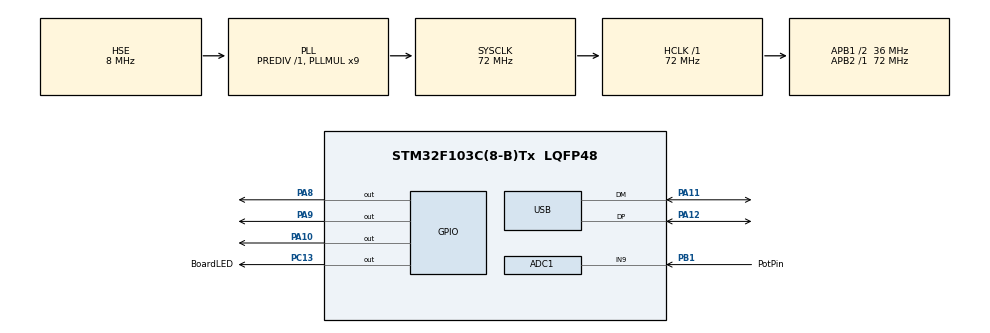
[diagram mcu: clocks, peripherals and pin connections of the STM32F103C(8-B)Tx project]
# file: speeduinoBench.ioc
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ADC1.Channel-0\#ChannelRegularConversion=ADC_CHANNEL_9
ADC1.ContinuousConvMode=ENABLE
ADC1.NbrOfConversionFlag=1
ADC1.Rank-0\#ChannelRegularConversion=1
ADC1.SamplingTime-0\#ChannelRegularConversion=ADC_SAMPLETIME_1CYCLE_5
ADC1.master=1
Mcu.Family=STM32F1
Mcu.Name=STM32F103C(8-B)Tx
Mcu.Package=LQFP48
NVIC.PriorityGroup=NVIC_PRIORITYGROUP_4
NVIC.USB_LP_CAN1_RX0_IRQn=true\:0\:0\:false\:false\:true\:false\:true\:true
PA10.Signal=GPIO_Output
PA11.Mode=Device
PA11.Signal=USB_DM
PA12.Mode=Device
PA12.Signal=USB_DP
PA13.Mode=Trace_Asynchronous_SW
PA13.Signal=SYS_JTMS-SWDIO
PA14.Mode=Trace_Asynchronous_SW
PA14.Signal=SYS_JTCK-SWCLK
PA8.Signal=GPIO_Output
PA9.Signal=GPIO_Output
PB1.GPIO_Label=PotPin
PB1.Signal=SharedAnalog_PB1
PB3.Mode=Trace_Asynchronous_SW
PB3.Signal=SYS_JTDO-TRACESWO
PC13-TAMPER-RTC.GPIO_Label=BoardLED
PC13-TAMPER-RTC.Signal=GPIO_Output
PD0-OSC_IN.Mode=HSE-External-Oscillator
PD0-OSC_IN.Signal=RCC_OSC_IN
PD1-OSC_OUT.Mode=HSE-External-Oscillator
PD1-OSC_OUT.Signal=RCC_OSC_OUT
ProjectManager.HeapSize=0x200
ProjectManager.StackSize=0x400
ProjectManager.TargetToolchain=STM32CubeIDE
RCC.ADCPresc=RCC_ADCPCLK2_DIV8
RCC.AHBFreq_Value=72000000
RCC.APB1CLKDivider=RCC_HCLK_DIV2
RCC.APB1Freq_Value=36000000
RCC.APB1TimFreq_Value=72000000
RCC.APB2Freq_Value=72000000
RCC.APB2TimFreq_Value=72000000
RCC.HCLKFreq_Value=72000000
RCC.PLLMUL=RCC_PLL_MUL9
RCC.PLLSourceVirtual=RCC_PLLSOURCE_HSE
RCC.SYSCLKFreq_VALUE=72000000
RCC.SYSCLKSource=RCC_SYSCLKSOURCE_PLLCLK
RCC.USBFreq_Value=48000000
RCC.USBPrescaler=RCC_USBCLKSOURCE_PLL_DIV1_5
SH.SharedAnalog_PB1.0=GPIO_Analog
SH.SharedAnalog_PB1.1=ADC1_IN9,IN9
TIM2.Period=65536-1
TIM2.Prescaler=72-1
USB_DEVICE.CLASS_NAME_FS=CDC
USB_DEVICE.VirtualMode=Cdc
USB_DEVICE.VirtualModeFS=Cdc_FS
VP_TIM2_VS_ClockSourceINT.Mode=Internal
VP_USB_DEVICE_VS_USB_DEVICE_CDC_FS.Mode=CDC_FS
board=custom

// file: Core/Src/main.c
/* USER CODE BEGIN Header */
/**
  ******************************************************************************
  * @file           : main.c
  * @brief          : Main program body
  ******************************************************************************
  * @attention
  *
  * Copyright (c) 2024 STMicroelectronics.
  * All rights reserved.
  *
  * This software is licensed under terms that can be found in the LICENSE file
  * in the root directory of this software component.
  * If no LICENSE file comes with this software, it is provided AS-IS.
  *
  ******************************************************************************
  */
/* USER CODE END Header */
#include "main.h"
#include "usb_device.h"

ADC_HandleTypeDef hadc1;

TIM_HandleTypeDef htim2;

void SystemClock_Config(void);
static void MX_GPIO_Init(void);
static void MX_ADC1_Init(void);
static void MX_TIM2_Init(void);

/* USER CODE BEGIN 0 */
uint16_t ValPot;
uint16_t Counter = 0;

int _write(int file, char *ptr, int len) {
	CDC_Transmit_FS((uint8_t*) ptr, len); return len;
}

void us_delay(uint16_t delay)
{
	__HAL_TIM_SET_COUNTER(&htim2, 0);
	uint16_t counterValue = __HAL_TIM_GET_COUNTER(&htim2);
	while(counterValue < delay)
	{
		counterValue = __HAL_TIM_GET_COUNTER(&htim2);
	}
}
/* USER CODE END 0 */

int main(void)
{

  /* MCU Configuration--------------------------------------------------------*/

  /* Reset of all peripherals, Initializes the Flash interface and the Systick. */
  HAL_Init();

  /* Configure the system clock */
  SystemClock_Config();

  /* USER CODE BEGIN SysInit */
  HAL_GPIO_WritePin(GPIOC, GPIO_PIN_13, 1);
  HAL_Delay(1000);
  HAL_GPIO_WritePin(GPIOC, GPIO_PIN_13, 0);

  /* USER CODE END SysInit */

  /* Initialize all configured peripherals */
  MX_GPIO_Init();
  MX_ADC1_Init();
  MX_USB_DEVICE_Init();
  MX_TIM2_Init();
  /* USER CODE BEGIN 2 */
  HAL_ADC_Start(&hadc1);
  HAL_TIM_Base_Start(&htim2);

  /* USER CODE END 2 */

  /* Infinite loop */
  /* USER CODE BEGIN WHILE */
  uint16_t rpmDelay = 1000;
  while (1)
  {
    /* USER CODE END WHILE */
	  HAL_ADC_PollForConversion(&hadc1, 1000);
	  ValPot = HAL_ADC_GetValue(&hadc1);
	  rpmDelay = (ValPot / 5) + 90;
	  //printf("ADC = %d \r\n", ValPot);
	  for(uint8_t i = 0; i<36;i++)
	  {
		  if(i < 35)
	      {
	      	HAL_GPIO_WritePin(GPIOA, GPIO_PIN_8, 1);
	      	us_delay(rpmDelay);
	      	HAL_GPIO_WritePin(GPIOA, GPIO_PIN_8, 0);
	      	us_delay(rpmDelay);
	      }
	      else
	      {
	    	  us_delay(2 * rpmDelay);
	      }
	  }
  }
}

void SystemClock_Config(void)
{
  RCC_OscInitTypeDef RCC_OscInitStruct = {0};
  RCC_ClkInitTypeDef RCC_ClkInitStruct = {0};
  RCC_PeriphCLKInitTypeDef PeriphClkInit = {0};

  /** Initializes the RCC Oscillators according to the specified parameters
  * in the RCC_OscInitTypeDef structure.
  */
  RCC_OscInitStruct.OscillatorType = RCC_OSCILLATORTYPE_HSE;
  RCC_OscInitStruct.HSEState = RCC_HSE_ON;
  RCC_OscInitStruct.HSEPredivValue = RCC_HSE_PREDIV_DIV1;
  RCC_OscInitStruct.HSIState = RCC_HSI_ON;
  RCC_OscInitStruct.PLL.PLLState = RCC_PLL_ON;
  RCC_OscInitStruct.PLL.PLLSource = RCC_PLLSOURCE_HSE;
  RCC_OscInitStruct.PLL.PLLMUL = RCC_PLL_MUL9;
  if (HAL_RCC_OscConfig(&RCC_OscInitStruct) != HAL_OK)
  {
    Error_Handler();
  }

  /** Initializes the CPU, AHB and APB buses clocks
  */
  RCC_ClkInitStruct.ClockType = RCC_CLOCKTYPE_HCLK|RCC_CLOCKTYPE_SYSCLK
                              |RCC_CLOCKTYPE_PCLK1|RCC_CLOCKTYPE_PCLK2;
  RCC_ClkInitStruct.SYSCLKSource = RCC_SYSCLKSOURCE_PLLCLK;
  RCC_ClkInitStruct.AHBCLKDivider = RCC_SYSCLK_DIV1;
  RCC_ClkInitStruct.APB1CLKDivider = RCC_HCLK_DIV2;
  RCC_ClkInitStruct.APB2CLKDivider = RCC_HCLK_DIV1;

  if (HAL_RCC_ClockConfig(&RCC_ClkInitStruct, FLASH_LATENCY_2) != HAL_OK)
  {
    Error_Handler();
  }
  PeriphClkInit.PeriphClockSelection = RCC_PERIPHCLK_ADC|RCC_PERIPHCLK_USB;
  PeriphClkInit.AdcClockSelection = RCC_ADCPCLK2_DIV8;
  PeriphClkInit.UsbClockSelection = RCC_USBCLKSOURCE_PLL_DIV1_5;
  if (HAL_RCCEx_PeriphCLKConfig(&PeriphClkInit) != HAL_OK)
  {
    Error_Handler();
  }
}

static void MX_ADC1_Init(void)
{

  ADC_ChannelConfTypeDef sConfig = {0};

  /** Common config
  */
  hadc1.Instance = ADC1;
  hadc1.Init.ScanConvMode = ADC_SCAN_DISABLE;
  hadc1.Init.ContinuousConvMode = ENABLE;
  hadc1.Init.DiscontinuousConvMode = DISABLE;
  hadc1.Init.ExternalTrigConv = ADC_SOFTWARE_START;
  hadc1.Init.DataAlign = ADC_DATAALIGN_RIGHT;
  hadc1.Init.NbrOfConversion = 1;
  if (HAL_ADC_Init(&hadc1) != HAL_OK)
  {
    Error_Handler();
  }

  /** Configure Regular Channel
  */
  sConfig.Channel = ADC_CHANNEL_9;
  sConfig.Rank = ADC_REGULAR_RANK_1;
  sConfig.SamplingTime = ADC_SAMPLETIME_1CYCLE_5;
  if (HAL_ADC_ConfigChannel(&hadc1, &sConfig) != HAL_OK)
  {
    Error_Handler();
  }

}

static void MX_TIM2_Init(void)
{

  TIM_ClockConfigTypeDef sClockSourceConfig = {0};
  TIM_MasterConfigTypeDef sMasterConfig = {0};

  htim2.Instance = TIM2;
  htim2.Init.Prescaler = 72-1;
  htim2.Init.CounterMode = TIM_COUNTERMODE_UP;
  htim2.Init.Period = 65536-1;
  htim2.Init.ClockDivision = TIM_CLOCKDIVISION_DIV1;
  htim2.Init.AutoReloadPreload = TIM_AUTORELOAD_PRELOAD_DISABLE;
  if (HAL_TIM_Base_Init(&htim2) != HAL_OK)
  {
    Error_Handler();
  }
  sClockSourceConfig.ClockSource = TIM_CLOCKSOURCE_INTERNAL;
  if (HAL_TIM_ConfigClockSource(&htim2, &sClockSourceConfig) != HAL_OK)
  {
    Error_Handler();
  }
  sMasterConfig.MasterOutputTrigger = TIM_TRGO_RESET;
  sMasterConfig.MasterSlaveMode = TIM_MASTERSLAVEMODE_DISABLE;
  if (HAL_TIMEx_MasterConfigSynchronization(&htim2, &sMasterConfig) != HAL_OK)
  {
    Error_Handler();
  }

}

static void MX_GPIO_Init(void)
{
  GPIO_InitTypeDef GPIO_InitStruct = {0};

  /* GPIO Ports Clock Enable */
  __HAL_RCC_GPIOC_CLK_ENABLE();
  __HAL_RCC_GPIOD_CLK_ENABLE();
  __HAL_RCC_GPIOB_CLK_ENABLE();
  __HAL_RCC_GPIOA_CLK_ENABLE();

  /*Configure GPIO pin Output Level */
  HAL_GPIO_WritePin(BoardLED_GPIO_Port, BoardLED_Pin, GPIO_PIN_RESET);

  /*Configure GPIO pin Output Level */
  HAL_GPIO_WritePin(GPIOA, GPIO_PIN_8|GPIO_PIN_9|GPIO_PIN_10, GPIO_PIN_RESET);

  /*Configure GPIO pin : BoardLED_Pin */
  GPIO_InitStruct.Pin = BoardLED_Pin;
  GPIO_InitStruct.Mode = GPIO_MODE_OUTPUT_PP;
  GPIO_InitStruct.Pull = GPIO_NOPULL;
  GPIO_InitStruct.Speed = GPIO_SPEED_FREQ_LOW;
  HAL_GPIO_Init(BoardLED_GPIO_Port, &GPIO_InitStruct);

  /*Configure GPIO pins : PA8 PA9 PA10 */
  GPIO_InitStruct.Pin = GPIO_PIN_8|GPIO_PIN_9|GPIO_PIN_10;
  GPIO_InitStruct.Mode = GPIO_MODE_OUTPUT_PP;
  GPIO_InitStruct.Pull = GPIO_NOPULL;
  GPIO_InitStruct.Speed = GPIO_SPEED_FREQ_LOW;
  HAL_GPIO_Init(GPIOA, &GPIO_InitStruct);

}

void Error_Handler(void)
{
  __disable_irq();
  while (1)
  {
  }
}
